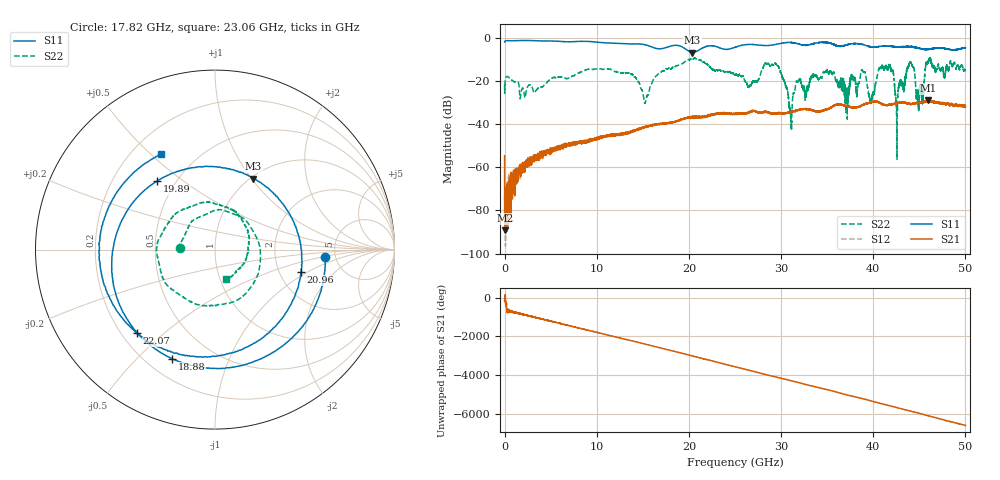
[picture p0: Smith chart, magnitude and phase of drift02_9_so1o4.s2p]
!Created with skrf (http://scikit-rf.org).
# Hz S RI R 50.0
!freq ReS11 ImS11 ReS21 ImS21 ReS12 ImS12 ReS22 ImS22
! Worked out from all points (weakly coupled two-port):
!   10001 points, 300 kHz to 50 GHz, reference 50 ohm
!   highest |S21| = -29.02 dB at 45.98 GHz (marker M1); lowest = -89.2 dB at 85.3 MHz (marker M2)
!   lowest |S11| = -6.9 dB at 20.38 GHz (marker M3), VSWR 2.63, Z = 51.5 + j51.1 ohm
!   |S11| at or under -10 dB: nowhere
!   |S22| runs from -56.4 to -9.0 dB; largest |S21 - S12| = 0.0032
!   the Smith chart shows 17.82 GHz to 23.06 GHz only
!   S11 on the Smith chart (normalised r, x): 17.82 GHz: 4.14, -0.55; 18.88 GHz: 0.30, -0.64; 19.89 GHz: 0.39, +0.40; 20.96 GHz: 2.63, -0.86; 22.07 GHz: 0.26, -0.41; 23.06 GHz: 0.32, +0.54
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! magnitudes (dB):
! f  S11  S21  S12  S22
! 300 kHz  -2.1  -54.7  -72.6  -21.6
! 85.3 MHz  -1.5  -89.2  -76.5  -19.1
! 8.335 GHz  -1.7  -48.4  -48.8  -15.8
! 15.31 GHz  -3.4  -41.4  -41.4  -29.3
! 16.67 GHz  -5.2  -40.1  -40.2  -16.8
! 17.82 GHz  -4.2  -39.6  -39.5  -14.1
! 18.88 GHz  -3.7  -38.6  -38.4  -12.7
! 19.89 GHz  -6.0  -37.1  -36.9  -10.3
! 20.38 GHz  -6.9  -36.8  -36.7  -9.9
! 20.96 GHz  -6.1  -37.0  -36.8  -9.8
! 22.07 GHz  -3.9  -36.4  -36.2  -12.7
! 23.06 GHz  -4.3  -35.4  -35.4  -15.2
! 25 GHz  -4.5  -35.4  -35.3  -17.3
! 29.5 GHz  -3.1  -35.0  -35.1  -12.5
! 31.03 GHz  -2.3  -34.3  -34.7  -36.3
! 33.34 GHz  -3.1  -33.4  -33.5  -18.0
! 39.74 GHz  -4.4  -30.1  -30.1  -29.8
! 41.67 GHz  -4.0  -31.2  -31.2  -13.5
! 42.56 GHz  -4.3  -30.5  -30.3  -44.5
! 45.14 GHz  -5.1  -29.9  -30.1  -21.6
! 45.98 GHz  -5.4  -29.0  -29.5  -10.7
! 50 GHz  -4.7  -32.2  -31.8  -15.2
